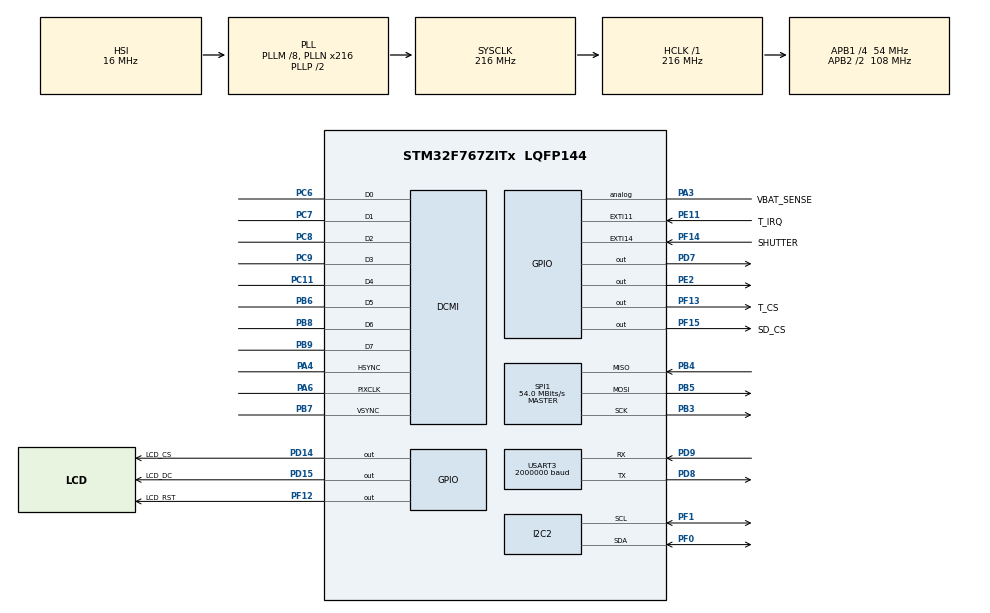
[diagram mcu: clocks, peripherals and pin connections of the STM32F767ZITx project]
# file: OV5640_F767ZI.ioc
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CORTEX_M7.default_mode_Activation=1
DCMI.PCKPolarity=DCMI_PCKPOLARITY_RISING
DCMI.VSPolarity=DCMI_VSPOLARITY_HIGH
I2C2.Timing=0x20404768
Mcu.Family=STM32F7
Mcu.Name=STM32F767ZITx
Mcu.Package=LQFP144
NVIC.EXTI15_10_IRQn=true\:10\:0\:false\:false\:true\:true\:true\:true
NVIC.PriorityGroup=NVIC_PRIORITYGROUP_4
PA3.GPIO_Label=VBAT_SENSE
PA3.Signal=GPIO_Analog
PA4.Mode=Slave_8_bits_External_Synchro
PA4.Signal=DCMI_HSYNC
PA6.Mode=Slave_8_bits_External_Synchro
PA6.Signal=DCMI_PIXCLK
PB3.Mode=Full_Duplex_Master
PB3.Signal=SPI1_SCK
PB4.Mode=Full_Duplex_Master
PB4.Signal=SPI1_MISO
PB5.Mode=Full_Duplex_Master
PB5.Signal=SPI1_MOSI
PB6.Mode=Slave_8_bits_External_Synchro
PB6.Signal=DCMI_D5
PB7.Mode=Slave_8_bits_External_Synchro
PB7.Signal=DCMI_VSYNC
PB8.Mode=Slave_8_bits_External_Synchro
PB8.Signal=DCMI_D6
PB9.Mode=Slave_8_bits_External_Synchro
PB9.Signal=DCMI_D7
PC11.Mode=Slave_8_bits_External_Synchro
PC11.Signal=DCMI_D4
PC6.Mode=Slave_8_bits_External_Synchro
PC6.Signal=DCMI_D0
PC7.Mode=Slave_8_bits_External_Synchro
PC7.Signal=DCMI_D1
PC8.Mode=Slave_8_bits_External_Synchro
PC8.Signal=DCMI_D2
PC9.Mode=Slave_8_bits_External_Synchro
PC9.Signal=DCMI_D3
PD14.GPIO_Label=LCD_CS
PD14.GPIO_Speed=GPIO_SPEED_FREQ_VERY_HIGH
PD14.PinState=GPIO_PIN_SET
PD14.Signal=GPIO_Output
PD15.GPIO_Label=LCD_DC
PD15.GPIO_Speed=GPIO_SPEED_FREQ_VERY_HIGH
PD15.Signal=GPIO_Output
PD7.Signal=GPIO_Output
PD8.Mode=Asynchronous
PD8.Signal=USART3_TX
PD9.Mode=Asynchronous
PD9.Signal=USART3_RX
PE11.GPIO_Label=T_IRQ
PE11.GPIO_ModeDefaultEXTI=GPIO_MODE_IT_FALLING
PE11.GPIO_PuPd=GPIO_PULLUP
PE11.Signal=GPXTI11
PE2.Signal=GPIO_Output
PF0.Mode=I2C
PF0.Signal=I2C2_SDA
PF1.Mode=I2C
PF1.Signal=I2C2_SCL
PF12.GPIO_Label=LCD_RST
PF12.GPIO_Speed=GPIO_SPEED_FREQ_VERY_HIGH
PF12.PinState=GPIO_PIN_SET
PF12.Signal=GPIO_Output
PF13.GPIO_Label=T_CS
PF13.GPIO_Speed=GPIO_SPEED_FREQ_HIGH
PF13.PinState=GPIO_PIN_SET
PF13.Signal=GPIO_Output
PF14.GPIO_Label=SHUTTER
PF14.GPIO_ModeDefaultEXTI=GPIO_MODE_IT_FALLING
PF14.GPIO_PuPd=GPIO_PULLUP
PF14.Signal=GPXTI14
PF15.GPIO_Label=SD_CS
PF15.GPIO_Speed=GPIO_SPEED_FREQ_HIGH
PF15.PinState=GPIO_PIN_SET
PF15.Signal=GPIO_Output
ProjectManager.HeapSize=0x200
ProjectManager.StackSize=0x400
ProjectManager.TargetToolchain=STM32CubeIDE
RCC.AHBFreq_Value=216000000
RCC.APB1CLKDivider=RCC_HCLK_DIV4
RCC.APB1Freq_Value=54000000
RCC.APB1TimFreq_Value=108000000
RCC.APB2CLKDivider=RCC_HCLK_DIV2
RCC.APB2Freq_Value=108000000
RCC.APB2TimFreq_Value=216000000
RCC.CortexFreq_Value=216000000
RCC.FLatency=FLASH_LATENCY_7
RCC.HCLKFreq_Value=216000000
RCC.HSE_VALUE=8000000
RCC.HSI_VALUE=16000000
RCC.LSE_VALUE=32768
RCC.PLLM=8
RCC.PLLN=216
RCC.PLLP=RCC_PLLP_DIV2
RCC.PLLQ=9
RCC.PLLSourceVirtual=RCC_PLLSOURCE_HSI
RCC.PWR_Regulator_Voltage_Scale=PWR_REGULATOR_VOLTAGE_SCALE1
RCC.SYSCLKFreq_VALUE=216000000
RCC.SYSCLKSource=RCC_SYSCLKSOURCE_PLLCLK
RCC.USBFreq_Value=48000000
RCC.VCOOutputFreq_Value=432000000
SPI1.BaudRatePrescaler=SPI_BAUDRATEPRESCALER_2
SPI1.CalculateBaudRate=54.0 MBits/s
SPI1.DataSize=SPI_DATASIZE_8BIT
SPI1.Direction=SPI_DIRECTION_2LINES
SPI1.Mode=SPI_MODE_MASTER
SPI1.NSSPMode=SPI_NSS_PULSE_DISABLE
SPI1.VirtualType=VM_MASTER
USART3.BaudRate=2000000
USART3.VirtualMode-Asynchronous=VM_ASYNC
board=custom

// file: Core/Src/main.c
/* USER CODE BEGIN Header */
/**
  ******************************************************************************
  * @file           : main.c
  * @brief          : Main program body
  ******************************************************************************
  * @attention
  *
  * Copyright (c) 2026 STMicroelectronics.
  * All rights reserved.
  *
  * This software is licensed under terms that can be found in the LICENSE file
  * in the root directory of this software component.
  * If no LICENSE file comes with this software, it is provided AS-IS.
  *
  ******************************************************************************
  */
/* USER CODE END Header */
#include "main.h"

/* USER CODE BEGIN Includes */
#include "camera.h"
#include "lcd.h"
#include "touch.h"
#include "app.h"
#include "ov5640.h"
#include "splash.h"
#include "gallery.h"
/* USER CODE END Includes */

/* USER CODE BEGIN PD */

/* Red blink code for "HSE never became ready" - see Error_Handler.  Picks up
 * where the Camera_Status_t codes (2..9) leave off. */
#define DIAG_CODE_NO_HSE      10U

/* USER CODE END PD */

DCMI_HandleTypeDef hdcmi;

I2C_HandleTypeDef hi2c2;

SPI_HandleTypeDef hspi1;

UART_HandleTypeDef huart3;

/* USER CODE BEGIN PV */

/* Live-preview statistics, refreshed once per second, readable over SWD. */
typedef struct
{
  uint32_t camera_fps;        /* complete frames from the DCMI, per second  */
  uint32_t display_fps;       /* frames sent to the LCD, per second         */
  uint32_t overruns;          /* DCMI FIFO overruns since reset             */
  uint32_t short_frames;      /* frames that ended early                    */
  uint32_t dropped;           /* frames lost because the LCD was still busy */
  uint32_t restarts;          /* sensor restarts after a stall              */
} Preview_Stats_t;

volatile Preview_Stats_t preview_stats;

/* USER CODE END PV */

void SystemClock_Config(void);
static void MPU_Config(void);
static void MX_GPIO_Init(void);
static void MX_DCMI_Init(void);
static void MX_I2C2_Init(void);
static void MX_USART3_UART_Init(void);
static void MX_SPI1_Init(void);

/* USER CODE BEGIN 0 */

/*
 * LEDs: LD1 green (PB0) toggles once a second while the preview runs.
 * LD3 red (PB14) blinks a Camera_Status_t code if the camera cannot start.
 * Both alternate in Error_Handler.  LD2 is on PB7, used for DCMI_VSYNC.
 */
static void Led_Init(void)
{
  GPIO_InitTypeDef led = {0};

  __HAL_RCC_GPIOB_CLK_ENABLE();

  led.Pin   = GPIO_PIN_0 | GPIO_PIN_14;
  led.Mode  = GPIO_MODE_OUTPUT_PP;
  led.Pull  = GPIO_NOPULL;
  led.Speed = GPIO_SPEED_FREQ_LOW;
  HAL_GPIO_Init(GPIOB, &led);
}

/** Flash the red LED `code` times, then hold dark for a beat. */
static void Diag_BlinkCode(uint32_t code)
{
  HAL_GPIO_WritePin(GPIOB, GPIO_PIN_0,  GPIO_PIN_RESET);
  HAL_GPIO_WritePin(GPIOB, GPIO_PIN_14, GPIO_PIN_RESET);
  HAL_Delay(700U);

  for (uint32_t i = 0U; i < code; i++)
  {
    HAL_GPIO_WritePin(GPIOB, GPIO_PIN_14, GPIO_PIN_SET);
    HAL_Delay(250U);
    HAL_GPIO_WritePin(GPIOB, GPIO_PIN_14, GPIO_PIN_RESET);
    HAL_Delay(250U);
  }

  HAL_Delay(700U);
}

/** Busy-wait without SysTick, for fault paths with interrupts off. */
static void Diag_SpinMs(uint32_t ms)
{
  uint32_t n = (SystemCoreClock / 8000U) * ms;

  for (volatile uint32_t i = 0U; i < n; i++) { }
}

/** Start the sensor, showing a fault and retrying until it answers. */
static void Camera_Bringup(void)
{
  for (uint32_t tries = 0U; ; tries++)
  {
    Camera_Status_t status;

    /* A fresh I2C peripheral clears a bus state left by a half transfer. */
    if (tries > 0U)
    {
      (void)HAL_I2C_DeInit(&hi2c2);
      MX_I2C2_Init();
    }

    Lcd_WaitIdle();
    status = Camera_Init();

    if (status == CAMERA_OK)
    {
      return;
    }

    if (tries >= 2U)
    {
      App_ShowFault(ICON_CAMERA);
      Diag_BlinkCode((uint32_t)status);
    }
  }
}

/** Start the preview, restarting the sensor until frames flow. */
static void Camera_StartOrRetry(void)
{
  while (Camera_StartLive() != CAMERA_OK)
  {
    App_ShowFault(ICON_CAMERA);
    Diag_BlinkCode((uint32_t)CAMERA_ERR_TIMEOUT);
    Camera_Bringup();
    App_ApplySettings();
  }
}

/**
  * @brief  Turn on the I- and D-cache, keeping the frame buffers uncached.
  * @note   MPU region 1 covers 0x20000000-0x2007FFFF as normal, non-cacheable
  *         memory, with its first two 64K subregions disabled so the DTCM
  *         (0x20000000-0x2001FFFF) keeps the default map - the DTCM is never
  *         cached anyway.  What is left is SRAM1+SRAM2, which the linker
  *         script reserves for .framebuf.
  *
  *         Chosen over cache maintenance (invalidate after DCMI, clean before
  *         SPI DMA) because the CPU never reads or writes pixels on the live
  *         path: caching the buffers would buy nothing, and every missed or
  *         mis-sized maintenance call would show up as stale stripes.
  *         Everything else - code in flash, variables and stack in DTCM -
  *         gets the full benefit of the caches.
  *
  *         Region 0 is CubeMX's background region (MPU_Config); region 1 has
  *         the higher number, so it wins where they overlap.
  */
static void Cache_Config(void)
{
  MPU_Region_InitTypeDef region = {0};

  HAL_MPU_Disable();

  region.Enable           = MPU_REGION_ENABLE;
  region.Number           = MPU_REGION_NUMBER1;
  region.BaseAddress      = 0x20000000U;
  region.Size             = MPU_REGION_SIZE_512KB;
  region.SubRegionDisable = 0x03U;
  region.TypeExtField     = MPU_TEX_LEVEL1;
  region.AccessPermission = MPU_REGION_FULL_ACCESS;
  region.DisableExec      = MPU_INSTRUCTION_ACCESS_DISABLE;
  region.IsShareable      = MPU_ACCESS_NOT_SHAREABLE;
  region.IsCacheable      = MPU_ACCESS_NOT_CACHEABLE;
  region.IsBufferable     = MPU_ACCESS_NOT_BUFFERABLE;
  HAL_MPU_ConfigRegion(&region);

  HAL_MPU_Enable(MPU_PRIVILEGED_DEFAULT);

  SCB_EnableICache();
  SCB_EnableDCache();
}

/* USER CODE END 0 */

int main(void)
{

  /* MPU Configuration--------------------------------------------------------*/
  MPU_Config();

  /* MCU Configuration--------------------------------------------------------*/

  /* Reset of all peripherals, Initializes the Flash interface and the Systick. */
  HAL_Init();

  /* USER CODE BEGIN Init */
  Cache_Config();
  /* USER CODE END Init */

  /* Configure the system clock */
  SystemClock_Config();

  /* USER CODE BEGIN SysInit */
  Led_Init();
  /* USER CODE END SysInit */

  /* Initialize all configured peripherals */
  MX_GPIO_Init();
  MX_DCMI_Init();
  MX_I2C2_Init();
  MX_USART3_UART_Init();
  MX_SPI1_Init();
  /* USER CODE BEGIN 2 */
  /* The screen comes up first so the rest of the loading is visible. */
  Lcd_Init();
  Splash_Intro();

  Splash_Step("STARTING CAMERA", 30);
  Camera_Bringup();

  Splash_Step("LOADING SETTINGS", 70);
  App_Init();

  /* Calibrate on first boot (nothing saved yet), or when the shutter button
   * (PF14) is held while the board starts. */
  if (!Touch_Init() ||
      (HAL_GPIO_ReadPin(SHUTTER_GPIO_Port, SHUTTER_Pin) == GPIO_PIN_RESET))
  {
    Touch_Calibrate();
  }

  Splash_Step("READY", 100);
  HAL_Delay(250U);

  Camera_StartOrRetry();
  /* USER CODE END 2 */

  /* Infinite loop */
  while (1)
  {

    /* USER CODE BEGIN 3 */
    /*
     * Live preview.  Each pass hands the newest camera frame to the LCD if
     * the LCD is free, and once a second publishes frame-rate statistics.
     */
    static bool     lcd_holds_frame = false;
    static uint32_t stats_start     = 0U;
    static uint32_t camera_base     = 0U;
    static uint32_t display_base    = 0U;
    static uint32_t stalled         = 0U;

    if (!Lcd_IsBusy())
    {
      int32_t index;

      if (lcd_holds_frame)
      {
        Camera_LiveRelease();
        lcd_holds_frame = false;
      }

      /* The bus is free between blits, so this is the only safe moment to
       * talk to the touch controller. */
      App_Poll();

      bool calibrate = App_TakeCalibrationRequest();
      bool gallery   = App_TakeGalleryRequest();

      if (calibrate || gallery)
      {
        Camera_StopLive();

        if (calibrate) { Touch_Calibrate(); } else { Gallery_Run(); }

        Camera_StartOrRetry();
        camera_base = Camera_GetLiveFrameCount();
        stats_start = HAL_GetTick();
      }

      /* App_Poll may have started the shutter flash, which owns the LCD. */
      if (!Lcd_IsBusy() && App_WantsFrame())
      {
        index = Camera_LiveAcquire();

        if (index >= 0)
        {
          uint16_t *frame = (uint16_t *)Camera_GetFrameBuffer((uint32_t)index);

          lcd_holds_frame = true;
          App_ProcessFrame(frame);
          Lcd_BlitAsync(frame);
        }
      }
    }

    if ((HAL_GetTick() - stats_start) >= 1000U)
    {
      uint32_t now_ms   = HAL_GetTick();
      uint32_t camera   = Camera_GetLiveFrameCount();
      uint32_t display  = Lcd_GetFrameCount();
      uint32_t interval = now_ms - stats_start;

      preview_stats.camera_fps   = ((camera - camera_base) * 1000U) / interval;
      preview_stats.display_fps  = ((display - display_base) * 1000U) / interval;
      preview_stats.overruns     = Camera_GetOverrunCount();
      preview_stats.short_frames = Camera_GetLiveShortCount();
      preview_stats.dropped      = Camera_GetLiveDroppedCount();

      App_SetFps(preview_stats.display_fps);

      /* A sensor that stops sending (brown-out, loose wire) is restarted. */
      stalled = (camera == camera_base) ? (stalled + 1U) : 0U;

      camera_base  = camera;
      display_base = display;
      stats_start  = now_ms;

      HAL_GPIO_TogglePin(GPIOB, GPIO_PIN_0);

      if (stalled >= 3U)
      {
        stalled = 0U;
        preview_stats.restarts++;
        Lcd_WaitIdle();
        Camera_StopLive();
        lcd_holds_frame = false;
        Camera_Bringup();
        App_ApplySettings();
        Camera_StartOrRetry();
        camera_base = Camera_GetLiveFrameCount();
        stats_start = HAL_GetTick();
      }
    }
  }
  /* USER CODE END 3 */
}

void SystemClock_Config(void)
{
  RCC_OscInitTypeDef RCC_OscInitStruct = {0};
  RCC_ClkInitTypeDef RCC_ClkInitStruct = {0};

  /** Configure the main internal regulator output voltage
  */
  __HAL_RCC_PWR_CLK_ENABLE();
  __HAL_PWR_VOLTAGESCALING_CONFIG(PWR_REGULATOR_VOLTAGE_SCALE1);

  /** Initializes the RCC Oscillators according to the specified parameters
  * in the RCC_OscInitTypeDef structure.
  */
  RCC_OscInitStruct.OscillatorType = RCC_OSCILLATORTYPE_HSI;
  RCC_OscInitStruct.HSIState = RCC_HSI_ON;
  RCC_OscInitStruct.HSICalibrationValue = RCC_HSICALIBRATION_DEFAULT;
  RCC_OscInitStruct.PLL.PLLState = RCC_PLL_ON;
  RCC_OscInitStruct.PLL.PLLSource = RCC_PLLSOURCE_HSI;
  RCC_OscInitStruct.PLL.PLLM = 8;
  RCC_OscInitStruct.PLL.PLLN = 216;
  RCC_OscInitStruct.PLL.PLLP = RCC_PLLP_DIV2;
  RCC_OscInitStruct.PLL.PLLQ = 9;
  RCC_OscInitStruct.PLL.PLLR = 2;
  if (HAL_RCC_OscConfig(&RCC_OscInitStruct) != HAL_OK)
  {
    Error_Handler();
  }

  /** Activate the Over-Drive mode
  */
  if (HAL_PWREx_EnableOverDrive() != HAL_OK)
  {
    Error_Handler();
  }

  /** Initializes the CPU, AHB and APB buses clocks
  */
  RCC_ClkInitStruct.ClockType = RCC_CLOCKTYPE_HCLK|RCC_CLOCKTYPE_SYSCLK
                              |RCC_CLOCKTYPE_PCLK1|RCC_CLOCKTYPE_PCLK2;
  RCC_ClkInitStruct.SYSCLKSource = RCC_SYSCLKSOURCE_PLLCLK;
  RCC_ClkInitStruct.AHBCLKDivider = RCC_SYSCLK_DIV1;
  RCC_ClkInitStruct.APB1CLKDivider = RCC_HCLK_DIV4;
  RCC_ClkInitStruct.APB2CLKDivider = RCC_HCLK_DIV2;

  if (HAL_RCC_ClockConfig(&RCC_ClkInitStruct, FLASH_LATENCY_7) != HAL_OK)
  {
    Error_Handler();
  }
}

static void MX_DCMI_Init(void)
{

  hdcmi.Instance = DCMI;
  hdcmi.Init.SynchroMode = DCMI_SYNCHRO_HARDWARE;
  hdcmi.Init.PCKPolarity = DCMI_PCKPOLARITY_RISING;
  hdcmi.Init.VSPolarity = DCMI_VSPOLARITY_HIGH;
  hdcmi.Init.HSPolarity = DCMI_HSPOLARITY_LOW;
  hdcmi.Init.CaptureRate = DCMI_CR_ALL_FRAME;
  hdcmi.Init.ExtendedDataMode = DCMI_EXTEND_DATA_8B;
  hdcmi.Init.JPEGMode = DCMI_JPEG_DISABLE;
  hdcmi.Init.ByteSelectMode = DCMI_BSM_ALL;
  hdcmi.Init.ByteSelectStart = DCMI_OEBS_ODD;
  hdcmi.Init.LineSelectMode = DCMI_LSM_ALL;
  hdcmi.Init.LineSelectStart = DCMI_OELS_ODD;
  if (HAL_DCMI_Init(&hdcmi) != HAL_OK)
  {
    Error_Handler();
  }
  /* USER CODE BEGIN DCMI_Init 2 */
  /*
   * Polarities above match the OV5640's default DVP timing, not CubeMX's
   * defaults: the sensor changes data on the falling PCLK edge (so the DCMI
   * must sample on the rising edge) and pulses VSYNC high during vertical
   * blanking (so the "data invalid" level is HIGH).  These are set in the
   * .ioc as well, but check the DCMI tab after any pin change.
   *
   * HAL_DCMI_Init() enables the LINE and VSYNC interrupts, which would fire
   * 240 times per frame for no benefit here.  Keep only the error sources.
   */
  __HAL_DCMI_DISABLE_IT(&hdcmi, DCMI_IT_LINE | DCMI_IT_VSYNC);
  /* USER CODE END DCMI_Init 2 */

}

static void MX_I2C2_Init(void)
{

  hi2c2.Instance = I2C2;
  hi2c2.Init.Timing = 0x20404768;
  hi2c2.Init.OwnAddress1 = 0;
  hi2c2.Init.AddressingMode = I2C_ADDRESSINGMODE_7BIT;
  hi2c2.Init.DualAddressMode = I2C_DUALADDRESS_DISABLE;
  hi2c2.Init.OwnAddress2 = 0;
  hi2c2.Init.OwnAddress2Masks = I2C_OA2_NOMASK;
  hi2c2.Init.GeneralCallMode = I2C_GENERALCALL_DISABLE;
  hi2c2.Init.NoStretchMode = I2C_NOSTRETCH_DISABLE;
  if (HAL_I2C_Init(&hi2c2) != HAL_OK)
  {
    Error_Handler();
  }

  /** Configure Analogue filter
  */
  if (HAL_I2CEx_ConfigAnalogFilter(&hi2c2, I2C_ANALOGFILTER_ENABLE) != HAL_OK)
  {
    Error_Handler();
  }

  /** Configure Digital filter
  */
  if (HAL_I2CEx_ConfigDigitalFilter(&hi2c2, 0) != HAL_OK)
  {
    Error_Handler();
  }

}

static void MX_SPI1_Init(void)
{

  /* SPI1 parameter configuration*/
  hspi1.Instance = SPI1;
  hspi1.Init.Mode = SPI_MODE_MASTER;
  hspi1.Init.Direction = SPI_DIRECTION_2LINES;
  hspi1.Init.DataSize = SPI_DATASIZE_8BIT;
  hspi1.Init.CLKPolarity = SPI_POLARITY_LOW;
  hspi1.Init.CLKPhase = SPI_PHASE_1EDGE;
  hspi1.Init.NSS = SPI_NSS_SOFT;
  hspi1.Init.BaudRatePrescaler = SPI_BAUDRATEPRESCALER_2;
  hspi1.Init.FirstBit = SPI_FIRSTBIT_MSB;
  hspi1.Init.TIMode = SPI_TIMODE_DISABLE;
  hspi1.Init.CRCCalculation = SPI_CRCCALCULATION_DISABLE;
  hspi1.Init.CRCPolynomial = 7;
  hspi1.Init.CRCLength = SPI_CRC_LENGTH_DATASIZE;
  hspi1.Init.NSSPMode = SPI_NSS_PULSE_DISABLE;
  if (HAL_SPI_Init(&hspi1) != HAL_OK)
  {
    Error_Handler();
  }

}

static void MX_USART3_UART_Init(void)
{

  huart3.Instance = USART3;
  huart3.Init.BaudRate = 2000000;
  huart3.Init.WordLength = UART_WORDLENGTH_8B;
  huart3.Init.StopBits = UART_STOPBITS_1;
  huart3.Init.Parity = UART_PARITY_NONE;
  huart3.Init.Mode = UART_MODE_TX_RX;
  huart3.Init.HwFlowCtl = UART_HWCONTROL_NONE;
  huart3.Init.OverSampling = UART_OVERSAMPLING_16;
  huart3.Init.OneBitSampling = UART_ONE_BIT_SAMPLE_DISABLE;
  huart3.AdvancedInit.AdvFeatureInit = UART_ADVFEATURE_NO_INIT;
  if (HAL_UART_Init(&huart3) != HAL_OK)
  {
    Error_Handler();
  }

}

static void MX_GPIO_Init(void)
{
  GPIO_InitTypeDef GPIO_InitStruct = {0};

  /* GPIO Ports Clock Enable */
  __HAL_RCC_GPIOE_CLK_ENABLE();
  __HAL_RCC_GPIOF_CLK_ENABLE();
  __HAL_RCC_GPIOA_CLK_ENABLE();
  __HAL_RCC_GPIOD_CLK_ENABLE();
  __HAL_RCC_GPIOC_CLK_ENABLE();
  __HAL_RCC_GPIOB_CLK_ENABLE();

  /*Configure GPIO pin Output Level */
  HAL_GPIO_WritePin(GPIOE, GPIO_PIN_2, GPIO_PIN_RESET);

  /*Configure GPIO pin Output Level */
  HAL_GPIO_WritePin(GPIOF, LCD_RST_Pin|T_CS_Pin|SD_CS_Pin, GPIO_PIN_SET);

  /*Configure GPIO pin Output Level */
  HAL_GPIO_WritePin(LCD_CS_GPIO_Port, LCD_CS_Pin, GPIO_PIN_SET);

  /*Configure GPIO pin Output Level */
  HAL_GPIO_WritePin(GPIOD, LCD_DC_Pin|GPIO_PIN_7, GPIO_PIN_RESET);

  /*Configure GPIO pin : PE2 */
  GPIO_InitStruct.Pin = GPIO_PIN_2;
  GPIO_InitStruct.Mode = GPIO_MODE_OUTPUT_PP;
  GPIO_InitStruct.Pull = GPIO_NOPULL;
  GPIO_InitStruct.Speed = GPIO_SPEED_FREQ_LOW;
  HAL_GPIO_Init(GPIOE, &GPIO_InitStruct);

  /*Configure GPIO pin : VBAT_SENSE_Pin */
  GPIO_InitStruct.Pin = VBAT_SENSE_Pin;
  GPIO_InitStruct.Mode = GPIO_MODE_ANALOG;
  GPIO_InitStruct.Pull = GPIO_NOPULL;
  HAL_GPIO_Init(VBAT_SENSE_GPIO_Port, &GPIO_InitStruct);

  /*Configure GPIO pin : LCD_RST_Pin */
  GPIO_InitStruct.Pin = LCD_RST_Pin;
  GPIO_InitStruct.Mode = GPIO_MODE_OUTPUT_PP;
  GPIO_InitStruct.Pull = GPIO_NOPULL;
  GPIO_InitStruct.Speed = GPIO_SPEED_FREQ_VERY_HIGH;
  HAL_GPIO_Init(LCD_RST_GPIO_Port, &GPIO_InitStruct);

  /*Configure GPIO pins : T_CS_Pin SD_CS_Pin */
  GPIO_InitStruct.Pin = T_CS_Pin|SD_CS_Pin;
  GPIO_InitStruct.Mode = GPIO_MODE_OUTPUT_PP;
  GPIO_InitStruct.Pull = GPIO_NOPULL;
  GPIO_InitStruct.Speed = GPIO_SPEED_FREQ_HIGH;
  HAL_GPIO_Init(GPIOF, &GPIO_InitStruct);

  /*Configure GPIO pin : SHUTTER_Pin */
  GPIO_InitStruct.Pin = SHUTTER_Pin;
  GPIO_InitStruct.Mode = GPIO_MODE_IT_FALLING;
  GPIO_InitStruct.Pull = GPIO_PULLUP;
  HAL_GPIO_Init(SHUTTER_GPIO_Port, &GPIO_InitStruct);

  /*Configure GPIO pin : T_IRQ_Pin */
  GPIO_InitStruct.Pin = T_IRQ_Pin;
  GPIO_InitStruct.Mode = GPIO_MODE_IT_FALLING;
  GPIO_InitStruct.Pull = GPIO_PULLUP;
  HAL_GPIO_Init(T_IRQ_GPIO_Port, &GPIO_InitStruct);

  /*Configure GPIO pins : LCD_CS_Pin LCD_DC_Pin */
  GPIO_InitStruct.Pin = LCD_CS_Pin|LCD_DC_Pin;
  GPIO_InitStruct.Mode = GPIO_MODE_OUTPUT_PP;
  GPIO_InitStruct.Pull = GPIO_NOPULL;
  GPIO_InitStruct.Speed = GPIO_SPEED_FREQ_VERY_HIGH;
  HAL_GPIO_Init(GPIOD, &GPIO_InitStruct);

  /*Configure GPIO pin : PD7 */
  GPIO_InitStruct.Pin = GPIO_PIN_7;
  GPIO_InitStruct.Mode = GPIO_MODE_OUTPUT_PP;
  GPIO_InitStruct.Pull = GPIO_NOPULL;
  GPIO_InitStruct.Speed = GPIO_SPEED_FREQ_LOW;
  HAL_GPIO_Init(GPIOD, &GPIO_InitStruct);

  /* EXTI interrupt init*/
  HAL_NVIC_SetPriority(EXTI15_10_IRQn, 10, 0);
  HAL_NVIC_EnableIRQ(EXTI15_10_IRQn);

}

 /* MPU Configuration */

void MPU_Config(void)
{
  MPU_Region_InitTypeDef MPU_InitStruct = {0};

  /* Disables the MPU */
  HAL_MPU_Disable();

  /** Initializes and configures the Region and the memory to be protected
  */
  MPU_InitStruct.Enable = MPU_REGION_ENABLE;
  MPU_InitStruct.Number = MPU_REGION_NUMBER0;
  MPU_InitStruct.BaseAddress = 0x0;
  MPU_InitStruct.Size = MPU_REGION_SIZE_4GB;
  MPU_InitStruct.SubRegionDisable = 0x87;
  MPU_InitStruct.TypeExtField = MPU_TEX_LEVEL0;
  MPU_InitStruct.AccessPermission = MPU_REGION_NO_ACCESS;
  MPU_InitStruct.DisableExec = MPU_INSTRUCTION_ACCESS_DISABLE;
  MPU_InitStruct.IsShareable = MPU_ACCESS_SHAREABLE;
  MPU_InitStruct.IsCacheable = MPU_ACCESS_NOT_CACHEABLE;
  MPU_InitStruct.IsBufferable = MPU_ACCESS_NOT_BUFFERABLE;

  HAL_MPU_ConfigRegion(&MPU_InitStruct);
  /* Enables the MPU */
  HAL_MPU_Enable(MPU_PRIVILEGED_DEFAULT);

}

void Error_Handler(void)
{
  /* USER CODE BEGIN Error_Handler_Debug */
  __disable_irq();

  /* SystemClock_Config runs before Led_Init, so a clock failure lands
   * here with the LED pins still unconfigured.  Initialising them again is
   * harmless if they already are. */
  Led_Init();

  /* HSE bypass relies on the ST-LINK's 8 MHz MCO.  If it was requested but
   * never arrived, say so specifically rather than with the generic pattern
   * below.  The PLL currently runs from HSI (this board's MCO does not reach
   * PH0), so HSEON is clear and this only fires if HSE is switched back on. */
  if (((RCC->CR & RCC_CR_HSEON) != 0U) && ((RCC->CR & RCC_CR_HSERDY) == 0U))
  {
    HAL_GPIO_WritePin(GPIOB, GPIO_PIN_0 | GPIO_PIN_14, GPIO_PIN_RESET);

    for (;;)
    {
      for (uint32_t i = 0U; i < DIAG_CODE_NO_HSE; i++)
      {
        HAL_GPIO_WritePin(GPIOB, GPIO_PIN_14, GPIO_PIN_SET);
        Diag_SpinMs(250U);
        HAL_GPIO_WritePin(GPIOB, GPIO_PIN_14, GPIO_PIN_RESET);
        Diag_SpinMs(250U);
      }

      Diag_SpinMs(1400U);
    }
  }

  while (1)
  {
    /* Flash both LEDs together so reaching Error_Handler is distinguishable
     * from a hang.  Busy-wait rather than HAL_Delay: interrupts are off, so
     * SysTick never advances and HAL_Delay would block forever. */
    HAL_GPIO_TogglePin(GPIOB, GPIO_PIN_0 | GPIO_PIN_14);

    Diag_SpinMs(200U);
  }
  /* USER CODE END Error_Handler_Debug */
}
